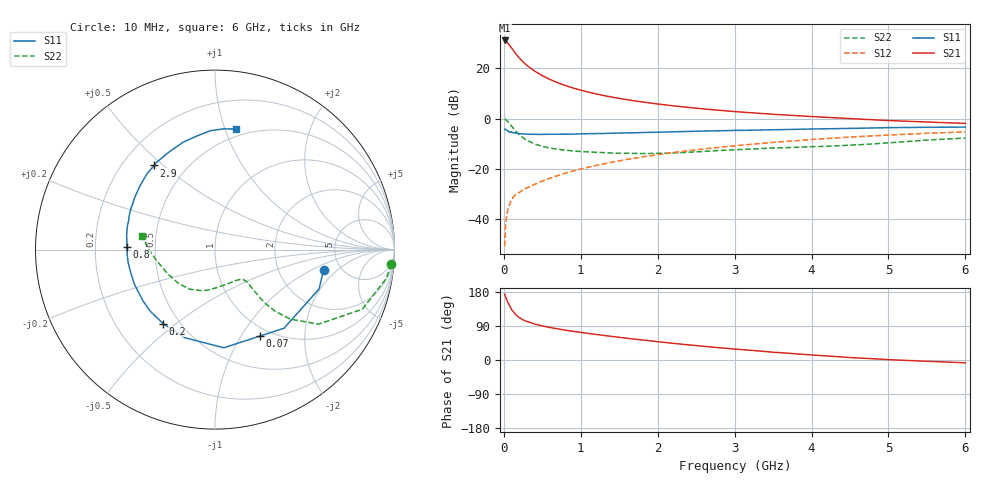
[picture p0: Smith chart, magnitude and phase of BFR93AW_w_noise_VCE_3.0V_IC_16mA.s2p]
! Infineon Technologies  Discrete & RF Semiconductors
! BFR93AW
! VCE =  3.0 V,  IC =  16 mA
! Common Emitter S-Parameters:  Jan 2017
# GHz  S  MA  R  50
!  f  S11  S21  S12  S22
! GHz  MAG  ANG  MAG  ANG  MAG  ANG  MAG  ANG
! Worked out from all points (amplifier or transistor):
!   77 points, 10 MHz to 6 GHz, reference 50 ohm
!   highest |S21| = 31.1 dB at 10 MHz (marker M1)
!   |S21| within 3 dB of that: start of sweep to 100.9 MHz
!   unconditionally stable (mu >= 1): 684.3 MHz to 2.13 GHz
!   at 130 MHz: K = 0.41, MSG = 29.0 dB, |S12| = -31.0 dB
!   at 2.2 GHz: K = 0.99, MSG = 9.3 dB, |S12| = -13.5 dB
!   at 6 GHz: K = 0.89, MSG = 1.7 dB, |S12| = -5.3 dB
!   lowest NFmin = 1.41 dB at 450 MHz
!   S11 on the Smith chart (normalised r, x): 10 MHz: 3.69, -1.33; 70 MHz: 0.89, -1.21; 200 MHz: 0.41, -0.45; 800 MHz: 0.34, +0.01; 2.9 GHz: 0.33, +0.47; 6 GHz: 0.43, +1.09
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0.01  0.6158 -10.5  36.06 174.0  0.0029 82.4  0.9852 -4.7
0.02  0.6199 -20.7  35.96 168.3  0.0068 87.0  0.9686 -9.5
0.05  0.5829 -48.7  32.47 152.3  0.0151 70.8  0.8858 -22.0
0.07  0.5429 -62.5  29.35 145.6  0.0188 64.9  0.8107 -26.8
0.1  0.5493 -84.8  25.64 132.8  0.0246 59.5  0.7113 -35.7
0.15  0.5189 -108.9  20.08 120.4  0.0307 54.7  0.5726 -42.7
0.2  0.5033 -125.0  16.18 112.0  0.0339 54.7  0.479 -45.7
0.25  0.4981 -136.7  13.48 105.9  0.0385 54.5  0.4155 -46.8
0.3  0.4924 -145.0  11.47 101.6  0.042 55.3  0.3697 -47.0
0.4  0.4889 -156.9  8.848 94.8  0.0491 58.2  0.3142 -46.4
0.5  0.4867 -165.4  7.164 89.9  0.0573 60.9  0.2809 -45.8
0.6  0.4894 -171.7  6.034 85.8  0.0652 62.3  0.2599 -45.4
0.7  0.4897 -176.7  5.199 82.2  0.0736 64.3  0.2462 -45.5
0.8  0.4916 178.5  4.575 78.7  0.0825 65.3  0.2364 -46.1
1.1  0.5022 167.5  3.379 70.1  0.1083 66.3  0.2182 -49.8
1.5  0.5177 156.1  2.531 59.9  0.1449 65.9  0.2051 -59.2
2.1  0.5428 141.9  1.882 46.2  0.2017 62.7  0.2055 -79.2
2.9  0.5792 125.9  1.426 30.7  0.2786 56.4  0.2366 -105.7
3.1  0.5871 122.1  1.351 27.3  0.2977 54.5  0.244 -111.5
4.1  0.6268 105.0  1.083 11.9  0.3937 44.2  0.2794 -140.6
5.1  0.6649 90.8  0.906 0.1  0.48 32.9  0.3386 -172.0
6  0.6811 80.3  0.805 -7.4  0.5458 22.6  0.4116 169.0
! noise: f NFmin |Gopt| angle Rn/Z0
0.45  1.41  0.12  146  0.13
0.9  1.69  0.23  168  0.14
1.9  2.69  0.47  -141  0.21
2.4  3.31  0.54  -127  0.41
